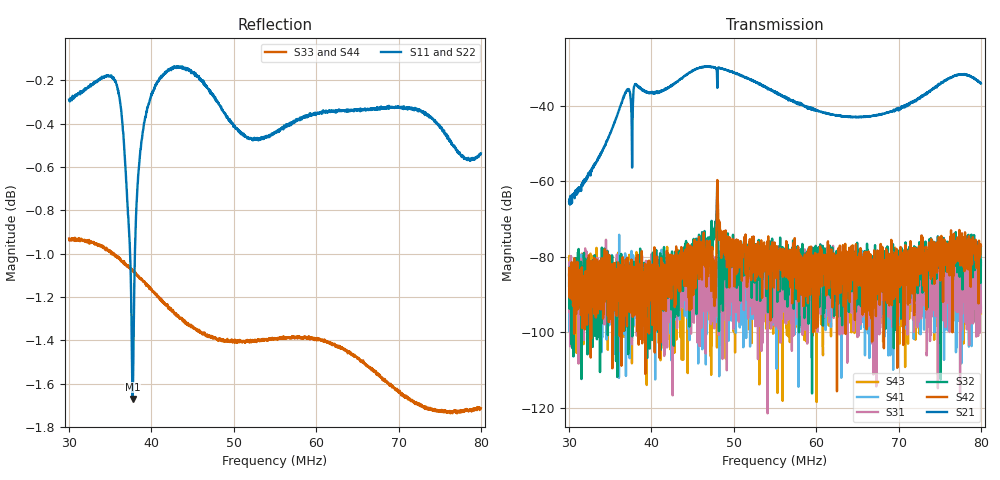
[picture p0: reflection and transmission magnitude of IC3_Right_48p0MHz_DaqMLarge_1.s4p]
#  HZ  S  DB  R  50.00
! Rohde & Schwarz Vector Network Analyzer
! Rohde-Schwarz,ZNB8-4Port,1311601044102961,2.82
! Created: UTC 2/12/2019, 1:54:51 PM
! freq[Hz]  db:S11  ang:S11  db:S12  ang:S12  db:S13  ang:S13  db:S14  ang:S14
!  db:S21  ang:S21  db:S22  ang:S22  db:S23  ang:S23  db:S24  ang:S24
!  db:S31  ang:S31  db:S32  ang:S32  db:S33  ang:S33  db:S34  ang:S34
!  db:S41  ang:S41  db:S42  ang:S42  db:S43  ang:S43  db:S44  ang:S44
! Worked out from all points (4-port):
!   2001 points, 30 MHz to 80 MHz, reference 50 ohm
!   strongest paths, dB at 30 MHz, 42.5 MHz, 55 MHz, 67.5 MHz, 80 MHz:
!     S21: -65.5, -34.6, -36.1, -42.3, -34.0
!     S42: -83.0, -80.2, -83.6, -85.2, -77.0
!     S32: -87.7, -78.6, -80.3, -83.8, -81.0
!     S31: -84.8, -84.5, -95.8, -87.1, -93.5
!     S41: -84.8, -93.9, -86.6, -84.8, -81.6
!     S43: -84.8, -82.9, -83.8, -90.0, -95.0
!   lowest |S11| = -1.7 dB at 37.73 MHz (marker M1), VSWR 10.43, Z = 45.3 - j139 ohm
!   |S11| at or under -10 dB: nowhere
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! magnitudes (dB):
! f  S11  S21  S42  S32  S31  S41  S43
! 30 MHz  -0.3  -65.5  -83.0  -87.7  -84.8  -84.8  -84.8
! 37.73 MHz  -1.7  -41.5  -95.9  -91.7  -85.9  -92.1  -82.0
! 46 MHz  -0.2  -29.8  -78.5  -74.9  -98.0  -87.3  -91.5
! 47.83 MHz  -0.3  -30.0  -85.9  -70.5  -83.4  -97.3  -81.4
! 48.42 MHz  -0.3  -30.0  -74.1  -80.5  -83.1  -88.0  -88.1
! 64.17 MHz  -0.3  -42.9  -88.7  -79.8  -78.3  -79.9  -86.3
! 80 MHz  -0.5  -34.0  -77.0  -81.0  -93.5  -81.6  -95.0
